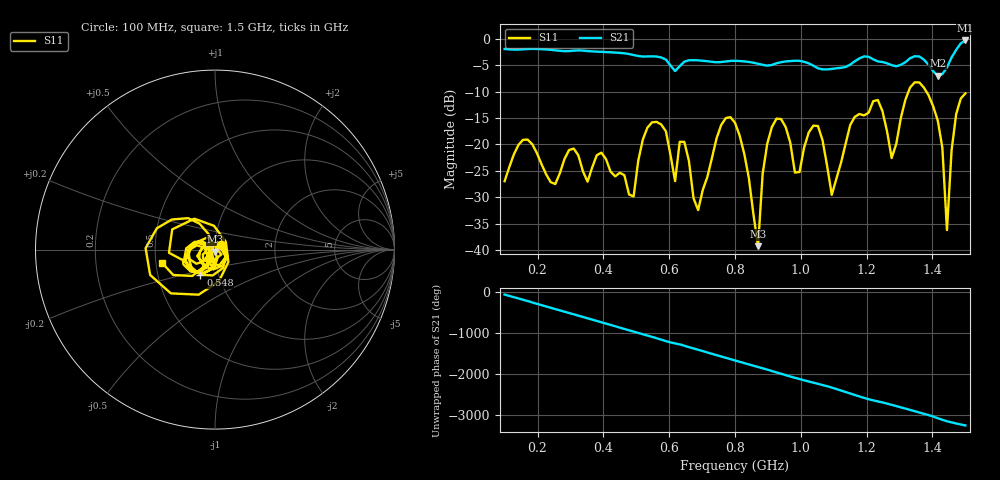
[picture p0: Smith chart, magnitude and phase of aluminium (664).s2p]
! NanoVNA-App
! Date: 2025-09-25 15:00:27
! Start: 100MHz Stop: 1,5GHz Points: 101
! S-Parameter data: F S11 S21 S12 S22
# Hz S RI R 50
!  Frequency  S11_Real  S11_Imag  S21_Real  S21_Imag  S12_Real  S12_Imag  S22_Real  S22_Imag
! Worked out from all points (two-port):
!   101 points, 100 MHz to 1.5 GHz, reference 50 ohm
!   highest |S21| = -0.30 dB at 1.5 GHz (marker M1); lowest = -7.0 dB at 1.416 GHz (marker M2)
!   |S21| within 3 dB of the highest: start of sweep to 513.4 MHz; 1.46 GHz to end of sweep (the widest 2 of 3)
!   lowest |S11| = -39.3 dB at 870 MHz (marker M3), VSWR 1.02, Z = 50.1 - j1.08 ohm
!   |S11| at or under -10 dB: start of sweep to 1.327 GHz; 1.381 GHz to end of sweep
!   S12 and S22 are empty: the file has one direction only
!   S11 on the Smith chart (normalised r, x): 100 MHz: 1.07, +0.06; 548 MHz: 0.82, -0.24; 1.5 GHz: 0.54, -0.09
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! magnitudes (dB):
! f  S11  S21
! 100 MHz  -27.0  -1.9
! 156 MHz  -19.1  -2.0
! 338 MHz  -25.1  -2.2
! 492 MHz  -29.8  -3.1
! 548 MHz  -15.8  -3.3
! 576 MHz  -16.2  -3.5
! 618 MHz  -26.9  -6.1
! 646 MHz  -19.5  -4.3
! 688 MHz  -32.4  -4.1
! 800 MHz  -15.9  -4.2
! 870 MHz  -39.3  -4.7
! 912 MHz  -16.7  -4.9
! 982 MHz  -25.3  -4.1
! 1.038 GHz  -16.4  -5.1
! 1.094 GHz  -29.5  -5.7
! 1.22 GHz  -11.8  -3.9
! 1.276 GHz  -22.6  -5.0
! 1.346 GHz  -8.2  -3.3
! 1.416 GHz  -15.4  -7.0
! 1.444 GHz  -36.2  -5.4
! 1.472 GHz  -14.2  -2.1
! 1.5 GHz  -10.3  -0.3
